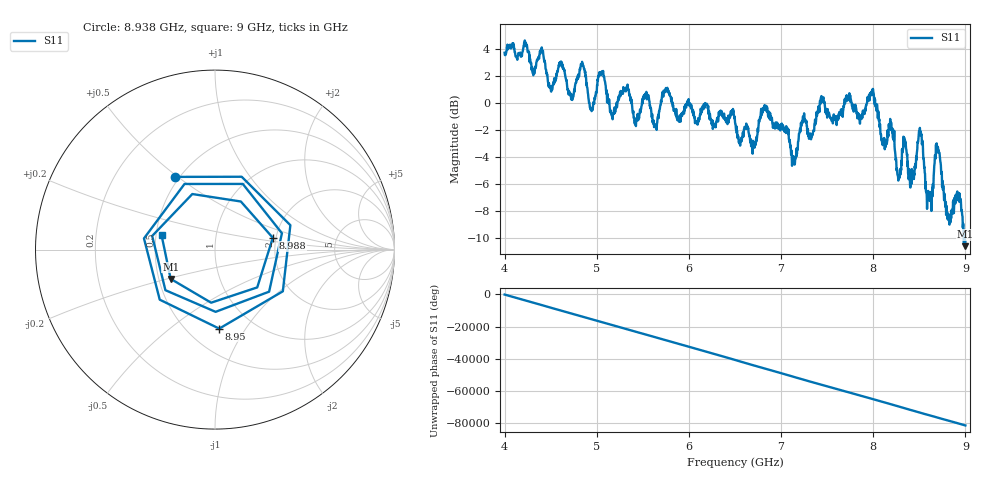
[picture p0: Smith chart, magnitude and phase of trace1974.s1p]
! Created with skrf 1.8.0 (http://scikit-rf.org).
# Hz S RI R 50.0
!freq ReS11 ImS11
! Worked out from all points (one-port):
!   1601 points, 4 GHz to 9 GHz, reference 50 ohm
!   lowest |S11| = -10.6 dB at 8.997 GHz (marker M1), VSWR 1.84, Z = 28.8 - j10.3 ohm
!   |S11| at or under -10 dB: 8.982774 GHz to 8.985989 GHz (3.215 MHz wide, 0.0358 % of centre); 8.990896 GHz to end of sweep
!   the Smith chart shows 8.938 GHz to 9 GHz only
!   S11 on the Smith chart (normalised r, x): 8.938 GHz: 0.47, +0.49; 8.95 GHz: 0.70, -0.77; 8.988 GHz: 1.92, +0.28; 9 GHz: 0.54, +0.09
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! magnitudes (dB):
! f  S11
! 4 GHz  3.8
! 4.503 GHz  0.9
! 4.625 GHz  2.8
! 4.725 GHz  0.6
! 4.85 GHz  2.8
! 4.941 GHz  -0.3
! 5.047 GHz  2.3
! 5.166 GHz  -0.9
! 5.25 GHz  0.6
! 5.875 GHz  -1.2
! 6.5 GHz  -1.4
! 6.7 GHz  -3.1
! 6.831 GHz  -0.4
! 7.125 GHz  -3.9
! 7.444 GHz  0.3
! 7.75 GHz  0.6
! 7.988 GHz  0.6
! 8.275 GHz  -5.5
! 8.375 GHz  -4.3
! 8.512 GHz  -2.4
! 8.606 GHz  -6.9
! 8.694 GHz  -3.2
! 8.812 GHz  -8.2
! 8.938 GHz  -6.7
! 8.95 GHz  -7.1
! 8.988 GHz  -9.7
! 8.997 GHz  -10.6
! 9 GHz  -10.2
